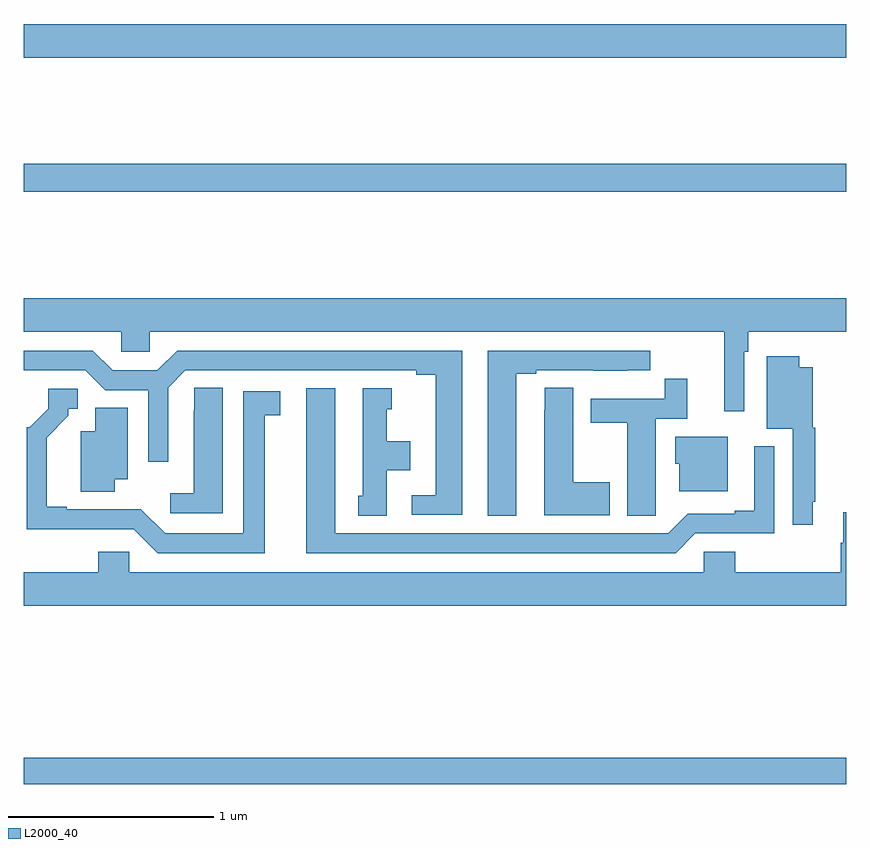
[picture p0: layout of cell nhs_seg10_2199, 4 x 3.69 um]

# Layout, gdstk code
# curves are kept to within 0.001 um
import gdstk
lib = gdstk.Library(unit=1e-6, precision=1e-09)
def R(c, l, rs):  # rectangles x0, y0, x1, y1
    for r in rs: c.add(gdstk.rectangle(r[:2], r[2:], *l))
def P(c, l, *ps):  # polygons
    for p in ps: c.add(gdstk.Polygon(p, *l))
L2000_40 = (2000, 40)

nhs_seg10_2199 = lib.new_cell('nhs_seg10_2199')
R(nhs_seg10_2199, L2000_40, [(227,1312.77,231,1312.898), (227,1315.648,231,1315.784), (227,1316.3,231,1316.464)])
P(nhs_seg10_2199, L2000_40, [(230.502,1314.872),(230.522,1314.872),(230.522,1314.968),(231,1314.968),(231,1315.132),(227,1315.132),(227,1314.968),(227.475,1314.968),(227.475,1314.87),(227.613,1314.87),(227.613,1314.968),(230.405,1314.968),(230.405,1314.582),(230.502,1314.582)],
  [(229.132,1314.876),(227.747,1314.876),(227.651,1314.78),(227.433,1314.78),(227.337,1314.876),(227,1314.876),(227,1314.78),(227.301,1314.78),(227.397,1314.684),(227.607,1314.684),(227.607,1314.336),(227.703,1314.336),(227.703,1314.696),(227.787,1314.78),(228.908,1314.78),(228.908,1314.76),(229.004,1314.76),(229.004,1314.174),(228.888,1314.174),(228.888,1314.078),(229.132,1314.078)],
  [(229.396,1314.765),(229.492,1314.765),(229.492,1314.78),(229.768,1314.78),(229.768,1314.779),(229.934,1314.779),(229.934,1314.78),(230.047,1314.78),(230.047,1314.876),(229.256,1314.876),(229.256,1314.073),(229.396,1314.073)],
  [(230.836,1314.142),(230.848,1314.142),(230.848,1314.501),(230.836,1314.501),(230.836,1314.796),(230.77,1314.796),(230.77,1314.85),(230.612,1314.85),(230.612,1314.497),(230.739,1314.497),(230.739,1314.03),(230.836,1314.03)],
  [(230.073,1314.184),(230.074,1314.184),(230.074,1314.546),(230.225,1314.546),(230.225,1314.739),(230.116,1314.739),(230.116,1314.642),(229.757,1314.642),(229.757,1314.526),(229.934,1314.526),(229.934,1314.073),(230.073,1314.073)],
  [(229.849,1314.237),(229.672,1314.237),(229.672,1314.695),(229.533,1314.695),(229.533,1314.587),(229.532,1314.587),(229.532,1314.077),(229.849,1314.077)],
  [(227.968,1314.695),(227.829,1314.695),(227.829,1314.587),(227.828,1314.587),(227.828,1314.184),(227.712,1314.184),(227.712,1314.087),(227.968,1314.087)],
  [(230.265,1313.988),(230.649,1313.988),(230.649,1314.412),(230.552,1314.412),(230.552,1314.097),(230.456,1314.097),(230.456,1314.084),(230.229,1314.084),(230.133,1313.988),(228.514,1313.988),(228.514,1314.694),(228.374,1314.694),(228.374,1313.892),(230.169,1313.892)],
  [(228.766,1314.296),(228.88,1314.296),(228.88,1314.436),(228.766,1314.436),(228.766,1314.591),(228.79,1314.591),(228.79,1314.694),(228.65,1314.694),(228.65,1314.171),(228.626,1314.171),(228.626,1314.073),(228.766,1314.073)],
  [(228.172,1314.562),(228.247,1314.562),(228.247,1314.678),(228.068,1314.678),(228.068,1313.988),(227.688,1313.988),(227.57,1314.106),(227.209,1314.105),(227.209,1314.118),(227.113,1314.118),(227.113,1314.454),(227.218,1314.559),(227.218,1314.594),(227.263,1314.594),(227.263,1314.69),(227.121,1314.69),(227.121,1314.594),(227.031,1314.504),(227.016,1314.504),(227.016,1314.008),(227.535,1314.009),(227.652,1313.892),(228.172,1313.892)],
  [(227.443,1314.251),(227.506,1314.251),(227.506,1314.599),(227.348,1314.599),(227.348,1314.484),(227.279,1314.484),(227.279,1314.19),(227.443,1314.19)],
  [(230.422,1314.457),(230.168,1314.457),(230.168,1314.327),(230.186,1314.327),(230.186,1314.194),(230.422,1314.194)],
  [(227.363,1313.898),(227.363,1313.8),(227,1313.8),(227,1313.636),(231,1313.636),(231,1314.091),(230.984,1314.091),(230.984,1313.942),(230.972,1313.942),(230.972,1313.8),(230.459,1313.8),(230.459,1313.898),(230.307,1313.898),(230.307,1313.8),(227.514,1313.8),(227.514,1313.898)])

lib.write_gds('nhs_seg10_2199.gds')
